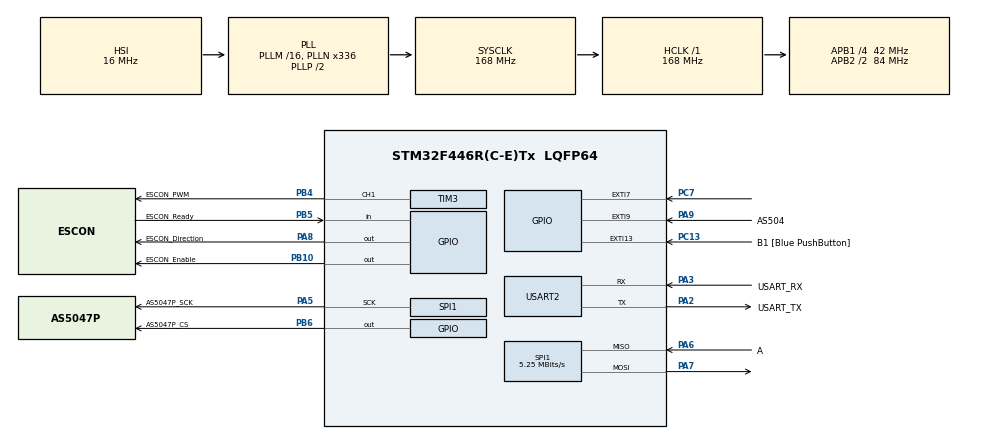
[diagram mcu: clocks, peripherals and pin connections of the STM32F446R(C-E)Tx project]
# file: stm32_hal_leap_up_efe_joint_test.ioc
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Mcu.Family=STM32F4
Mcu.Name=STM32F446R(C-E)Tx
Mcu.Package=LQFP64
NVIC.EXTI15_10_IRQn=true\:0\:0\:false\:false\:true\:true\:true\:true
NVIC.EXTI9_5_IRQn=true\:0\:0\:false\:false\:true\:true\:true\:true
NVIC.PriorityGroup=NVIC_PRIORITYGROUP_1
NVIC.TIM1_UP_TIM10_IRQn=true\:1\:0\:true\:false\:true\:true\:true\:true
NVIC.USART2_IRQn=true\:0\:1\:false\:false\:true\:true\:true\:true
PA13.GPIO_Label=TMS
PA13.Mode=Serial_Wire
PA13.Signal=SYS_JTMS-SWDIO
PA14.GPIO_Label=TCK
PA14.Mode=Serial_Wire
PA14.Signal=SYS_JTCK-SWCLK
PA2.GPIO_Label=USART_TX
PA2.Mode=Asynchronous
PA2.Signal=USART2_TX
PA3.GPIO_Label=USART_RX
PA3.Mode=Asynchronous
PA3.Signal=USART2_RX
PA5.GPIO_Label=AS5047P_SCK
PA5.Mode=Full_Duplex_Master
PA5.Signal=SPI1_SCK
PA6.GPIO_Label=A
PA6.Mode=Full_Duplex_Master
PA6.Signal=SPI1_MISO
PA7.Mode=Full_Duplex_Master
PA7.Signal=SPI1_MOSI
PA8.GPIO_Label=ESCON_Direction
PA8.GPIO_Speed=GPIO_SPEED_FREQ_LOW
PA8.Signal=GPIO_Output
PA9.GPIO_Label=AS504
PA9.GPIO_ModeDefaultEXTI=GPIO_MODE_IT_RISING_FALLING
PA9.Signal=GPXTI9
PB10.GPIO_Label=ESCON_Enable
PB10.GPIO_Speed=GPIO_SPEED_FREQ_LOW
PB10.Signal=GPIO_Output
PB3.GPIO_Label=SWO
PB3.Signal=SYS_JTDO-SWO
PB4.GPIO_Label=ESCON_PWM
PB4.GPIO_Speed=GPIO_SPEED_FREQ_VERY_HIGH
PB4.Signal=S_TIM3_CH1
PB5.GPIO_Label=ESCON_Ready
PB5.Signal=GPIO_Input
PB6.GPIO_Label=AS5047P_CS
PB6.GPIO_Speed=GPIO_SPEED_FREQ_MEDIUM
PB6.Signal=GPIO_Output
PC13.GPIO_Label=B1 [Blue PushButton]
PC13.GPIO_ModeDefaultEXTI=GPIO_MODE_IT_FALLING
PC13.Signal=GPXTI13
PC14-OSC32_IN.Mode=LSE-External-Oscillator
PC14-OSC32_IN.Signal=RCC_OSC32_IN
PC15-OSC32_OUT.Mode=LSE-External-Oscillator
PC15-OSC32_OUT.Signal=RCC_OSC32_OUT
PC7.GPIO_ModeDefaultEXTI=GPIO_MODE_IT_RISING_FALLING
PC7.Signal=GPXTI7
PH0-OSC_IN.Mode=HSE-External-Oscillator
PH0-OSC_IN.Signal=RCC_OSC_IN
PH1-OSC_OUT.Mode=HSE-External-Oscillator
PH1-OSC_OUT.Signal=RCC_OSC_OUT
ProjectManager.HeapSize=0x200
ProjectManager.StackSize=0x400
ProjectManager.TargetToolchain=STM32CubeIDE
RCC.48MHZClocksFreq_Value=84000000
RCC.AHBFreq_Value=168000000
RCC.APB1CLKDivider=RCC_HCLK_DIV4
RCC.APB1Freq_Value=42000000
RCC.APB1TimFreq_Value=84000000
RCC.APB2CLKDivider=RCC_HCLK_DIV2
RCC.APB2Freq_Value=84000000
RCC.APB2TimFreq_Value=168000000
RCC.CortexFreq_Value=168000000
RCC.FLatency-AdvancedSettings=FLASH_LATENCY_5
RCC.HCLKFreq_Value=168000000
RCC.HSE_VALUE=8000000
RCC.HSI_VALUE=16000000
RCC.PLLN=336
RCC.SYSCLKFreq_VALUE=168000000
RCC.SYSCLKSource=RCC_SYSCLKSOURCE_PLLCLK
RCC.USBFreq_Value=168000000
RCC.VCOOutputFreq_Value=336000000
SH.S_TIM3_CH1.0=TIM3_CH1,PWM Generation1 CH1
SPI1.BaudRatePrescaler=SPI_BAUDRATEPRESCALER_16
SPI1.CLKPhase=SPI_PHASE_2EDGE
SPI1.CalculateBaudRate=5.25 MBits/s
SPI1.DataSize=SPI_DATASIZE_16BIT
SPI1.Direction=SPI_DIRECTION_2LINES
SPI1.Mode=SPI_MODE_MASTER
SPI1.VirtualType=VM_MASTER
TIM10.Period=10
TIM10.Prescaler=84-1
TIM11.Period=1000
TIM11.Prescaler=84-1
TIM3.Channel-PWM\ Generation1\ CH1=TIM_CHANNEL_1
TIM3.Period=1000-1
TIM3.Prescaler=84-1
USART2.VirtualMode=VM_ASYNC
VP_TIM10_VS_ClockSourceINT.Mode=Enable_Timer
VP_TIM11_VS_ClockSourceINT.Mode=Enable_Timer
VP_TIM3_VS_ClockSourceINT.Mode=Internal
board=NUCLEO-F446RE

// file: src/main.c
/* USER CODE BEGIN Header */
/**
 ******************************************************************************
 * @file           : main.c
 * @brief          : Main program body
 ******************************************************************************
 * @attention
 *
 * Copyright (c) 2022 STMicroelectronics.
 * All rights reserved.
 *
 * This software is licensed under terms that can be found in the LICENSE file
 * in the root directory of this software component.
 * If no LICENSE file comes with this software, it is provided AS-IS.
 *
 ******************************************************************************
 */
/* USER CODE END Header */
#include "main.h"

/* USER CODE BEGIN Includes */
#include <stdio.h>
/* USER CODE END Includes */

/* USER CODE BEGIN PD */
#ifdef __GNUC__
#define PUTCHAR_PROTOTYPE int __io_putchar(int ch)
#else
#define PUTCHAR_PROTOTYPE int fputc(int ch, FILE *f)
#endif

#define MONITOR_HZ (5)

/* USER CODE END PD */

SPI_HandleTypeDef hspi1;

TIM_HandleTypeDef htim3;
TIM_HandleTypeDef htim10;
TIM_HandleTypeDef htim11;

UART_HandleTypeDef huart2;

/* USER CODE BEGIN PV */
uint8_t rx_bufffer[1] = {0};
volatile ESCON_Direction_t present_direction = CW;
volatile int32_t goal_encoder_count = 0;
volatile int32_t present_encoder_count = 0;
/* USER CODE END PV */

void SystemClock_Config(void);
static void MX_GPIO_Init(void);
static void MX_SPI1_Init(void);
static void MX_TIM3_Init(void);
static void MX_TIM10_Init(void);
static void MX_USART2_UART_Init(void);
static void MX_TIM11_Init(void);

int main(void)
{

  /* MCU Configuration--------------------------------------------------------*/

  /* Reset of all peripherals, Initializes the Flash interface and the Systick. */
  HAL_Init();

  /* Configure the system clock */
  SystemClock_Config();

  /* Initialize all configured peripherals */
  MX_GPIO_Init();
  MX_SPI1_Init();
  MX_TIM3_Init();
  MX_TIM10_Init();
  MX_USART2_UART_Init();
  MX_TIM11_Init();
  /* USER CODE BEGIN 2 */
  EFE_Joint_Init();

  double angle = EFE_Joint_GetAngle();
  present_encoder_count = AS5047P_ANGLE_TO_COUNT(angle);
  goal_encoder_count = present_encoder_count;

  HAL_TIM_Base_Start_IT(&htim10);
  HAL_UART_Receive_IT(&huart2, rx_bufffer, 1);
  printf("\r\nReady\r\n");

  /* USER CODE END 2 */

  /* Infinite loop */
  /* USER CODE BEGIN WHILE */
  while (1)
  {
    EFE_Joint_SetAngle(goal_encoder_count, present_encoder_count);

    /* USER CODE END WHILE */

  }
}

void HAL_TIM_PeriodElapsedCallback(TIM_HandleTypeDef *htim)
{
  if (htim->Instance == TIM10)
  {
    double angle = EFE_Joint_GetAngle();

    printf("D: %1i, P: %5li, G: %5li, A: %i\r\n",
           present_direction,
           present_encoder_count,
           goal_encoder_count,
           (int16_t)angle);

    present_encoder_count = AS5047P_ANGLE_TO_COUNT(angle);
  }
}

void HAL_UART_RxCpltCallback(UART_HandleTypeDef *huart)
{
  if (huart->Instance == USART2)
  {
    uint8_t goal_angle = rx_bufffer[0];
    goal_encoder_count = AS5047P_ANGLE_TO_COUNT(goal_angle);
    HAL_UART_Receive_IT(&huart2, rx_bufffer, 1);
  }
}

// FIXME: The value of encoder count does not match the actual angle.
void HAL_GPIO_EXTI_Callback(uint16_t GPIO_Pin)
{
  if (GPIO_Pin == AS5047P_ENCODER_A_Pin)
  {
    GPIO_PinState a = HAL_GPIO_ReadPin(AS5047P_ENCODER_A_GPIO_Port, AS5047P_ENCODER_A_Pin);
    GPIO_PinState b = HAL_GPIO_ReadPin(AS5047P_ENCODER_B_GPIO_Port, AS5047P_ENCODER_B_Pin);

    if (a != b)
    {
      present_direction = CW;
      present_encoder_count++;
    }
    else
    {
      present_direction = CCW;
      present_encoder_count--;
    }
  }
  else if (GPIO_Pin == AS5047P_ENCODER_B_Pin)
  {
    GPIO_PinState a = HAL_GPIO_ReadPin(AS5047P_ENCODER_A_GPIO_Port, AS5047P_ENCODER_A_Pin);
    GPIO_PinState b = HAL_GPIO_ReadPin(AS5047P_ENCODER_B_GPIO_Port, AS5047P_ENCODER_B_Pin);

    if (a != b)
    {
      present_direction = CCW;
      present_encoder_count--;
    }
    else
    {
      present_direction = CW;
      present_encoder_count++;
    }
  }
}

PUTCHAR_PROTOTYPE
{
  HAL_UART_Transmit(&huart2,
                    (uint8_t *)&ch,
                    1,
                    HAL_MAX_DELAY);
  return ch;
}

void as5047p_spi_send(uint16_t data)
{
  HAL_SPI_Transmit(&hspi1, (uint8_t *)&data, 1, HAL_MAX_DELAY);
}

uint16_t as5047p_spi_read(void)
{
  uint16_t data = 0;
  HAL_SPI_Receive(&hspi1, (uint8_t *)&data, 1, HAL_MAX_DELAY);
  return data;
}

void as5047p_spi_select(void)
{
  HAL_GPIO_WritePin(AS5047P_CS_GPIO_Port, AS5047P_CS_Pin, GPIO_PIN_RESET);
}

void as5047p_spi_deselect(void)
{
  HAL_GPIO_WritePin(AS5047P_CS_GPIO_Port, AS5047P_CS_Pin, GPIO_PIN_SET);
}

void SystemClock_Config(void)
{
  RCC_OscInitTypeDef RCC_OscInitStruct = {0};
  RCC_ClkInitTypeDef RCC_ClkInitStruct = {0};

  /** Configure the main internal regulator output voltage
   */
  __HAL_RCC_PWR_CLK_ENABLE();
  __HAL_PWR_VOLTAGESCALING_CONFIG(PWR_REGULATOR_VOLTAGE_SCALE1);

  /** Initializes the RCC Oscillators according to the specified parameters
   * in the RCC_OscInitTypeDef structure.
   */
  RCC_OscInitStruct.OscillatorType = RCC_OSCILLATORTYPE_HSI;
  RCC_OscInitStruct.HSIState = RCC_HSI_ON;
  RCC_OscInitStruct.HSICalibrationValue = RCC_HSICALIBRATION_DEFAULT;
  RCC_OscInitStruct.PLL.PLLState = RCC_PLL_ON;
  RCC_OscInitStruct.PLL.PLLSource = RCC_PLLSOURCE_HSI;
  RCC_OscInitStruct.PLL.PLLM = 16;
  RCC_OscInitStruct.PLL.PLLN = 336;
  RCC_OscInitStruct.PLL.PLLP = RCC_PLLP_DIV2;
  RCC_OscInitStruct.PLL.PLLQ = 2;
  RCC_OscInitStruct.PLL.PLLR = 2;
  if (HAL_RCC_OscConfig(&RCC_OscInitStruct) != HAL_OK)
  {
    Error_Handler();
  }

  /** Initializes the CPU, AHB and APB buses clocks
   */
  RCC_ClkInitStruct.ClockType = RCC_CLOCKTYPE_HCLK | RCC_CLOCKTYPE_SYSCLK | RCC_CLOCKTYPE_PCLK1 | RCC_CLOCKTYPE_PCLK2;
  RCC_ClkInitStruct.SYSCLKSource = RCC_SYSCLKSOURCE_PLLCLK;
  RCC_ClkInitStruct.AHBCLKDivider = RCC_SYSCLK_DIV1;
  RCC_ClkInitStruct.APB1CLKDivider = RCC_HCLK_DIV4;
  RCC_ClkInitStruct.APB2CLKDivider = RCC_HCLK_DIV2;

  if (HAL_RCC_ClockConfig(&RCC_ClkInitStruct, FLASH_LATENCY_5) != HAL_OK)
  {
    Error_Handler();
  }
}

static void MX_SPI1_Init(void)
{

  /* SPI1 parameter configuration*/
  hspi1.Instance = SPI1;
  hspi1.Init.Mode = SPI_MODE_MASTER;
  hspi1.Init.Direction = SPI_DIRECTION_2LINES;
  hspi1.Init.DataSize = SPI_DATASIZE_16BIT;
  hspi1.Init.CLKPolarity = SPI_POLARITY_LOW;
  hspi1.Init.CLKPhase = SPI_PHASE_2EDGE;
  hspi1.Init.NSS = SPI_NSS_SOFT;
  hspi1.Init.BaudRatePrescaler = SPI_BAUDRATEPRESCALER_16;
  hspi1.Init.FirstBit = SPI_FIRSTBIT_MSB;
  hspi1.Init.TIMode = SPI_TIMODE_DISABLE;
  hspi1.Init.CRCCalculation = SPI_CRCCALCULATION_DISABLE;
  hspi1.Init.CRCPolynomial = 10;
  if (HAL_SPI_Init(&hspi1) != HAL_OK)
  {
    Error_Handler();
  }
}

static void MX_TIM3_Init(void)
{

  TIM_ClockConfigTypeDef sClockSourceConfig = {0};
  TIM_MasterConfigTypeDef sMasterConfig = {0};
  TIM_OC_InitTypeDef sConfigOC = {0};

  htim3.Instance = TIM3;
  htim3.Init.Prescaler = 84 - 1;
  htim3.Init.CounterMode = TIM_COUNTERMODE_UP;
  htim3.Init.Period = 1000 - 1;
  htim3.Init.ClockDivision = TIM_CLOCKDIVISION_DIV1;
  htim3.Init.AutoReloadPreload = TIM_AUTORELOAD_PRELOAD_DISABLE;
  if (HAL_TIM_Base_Init(&htim3) != HAL_OK)
  {
    Error_Handler();
  }
  sClockSourceConfig.ClockSource = TIM_CLOCKSOURCE_INTERNAL;
  if (HAL_TIM_ConfigClockSource(&htim3, &sClockSourceConfig) != HAL_OK)
  {
    Error_Handler();
  }
  if (HAL_TIM_PWM_Init(&htim3) != HAL_OK)
  {
    Error_Handler();
  }
  sMasterConfig.MasterOutputTrigger = TIM_TRGO_RESET;
  sMasterConfig.MasterSlaveMode = TIM_MASTERSLAVEMODE_DISABLE;
  if (HAL_TIMEx_MasterConfigSynchronization(&htim3, &sMasterConfig) != HAL_OK)
  {
    Error_Handler();
  }
  sConfigOC.OCMode = TIM_OCMODE_PWM1;
  sConfigOC.Pulse = 0;
  sConfigOC.OCPolarity = TIM_OCPOLARITY_HIGH;
  sConfigOC.OCFastMode = TIM_OCFAST_DISABLE;
  if (HAL_TIM_PWM_ConfigChannel(&htim3, &sConfigOC, TIM_CHANNEL_1) != HAL_OK)
  {
    Error_Handler();
  }
  HAL_TIM_MspPostInit(&htim3);
}

static void MX_TIM10_Init(void)
{

  htim10.Instance = TIM10;
  htim10.Init.Prescaler = 168000 - 1;
  htim10.Init.CounterMode = TIM_COUNTERMODE_UP;
  htim10.Init.Period = (1000 / MONITOR_HZ) - 1;
  htim10.Init.ClockDivision = TIM_CLOCKDIVISION_DIV1;
  htim10.Init.AutoReloadPreload = TIM_AUTORELOAD_PRELOAD_DISABLE;
  if (HAL_TIM_Base_Init(&htim10) != HAL_OK)
  {
    Error_Handler();
  }
}

static void MX_TIM11_Init(void)
{

  htim11.Instance = TIM11;
  htim11.Init.Prescaler = 84 - 1;
  htim11.Init.CounterMode = TIM_COUNTERMODE_UP;
  htim11.Init.Period = 1000;
  htim11.Init.ClockDivision = TIM_CLOCKDIVISION_DIV1;
  htim11.Init.AutoReloadPreload = TIM_AUTORELOAD_PRELOAD_DISABLE;
  if (HAL_TIM_Base_Init(&htim11) != HAL_OK)
  {
    Error_Handler();
  }
}

static void MX_USART2_UART_Init(void)
{

  huart2.Instance = USART2;
  huart2.Init.BaudRate = 115200;
  huart2.Init.WordLength = UART_WORDLENGTH_8B;
  huart2.Init.StopBits = UART_STOPBITS_1;
  huart2.Init.Parity = UART_PARITY_NONE;
  huart2.Init.Mode = UART_MODE_TX_RX;
  huart2.Init.HwFlowCtl = UART_HWCONTROL_NONE;
  huart2.Init.OverSampling = UART_OVERSAMPLING_16;
  if (HAL_UART_Init(&huart2) != HAL_OK)
  {
    Error_Handler();
  }
}

static void MX_GPIO_Init(void)
{
  GPIO_InitTypeDef GPIO_InitStruct = {0};

  /* GPIO Ports Clock Enable */
  __HAL_RCC_GPIOC_CLK_ENABLE();
  __HAL_RCC_GPIOH_CLK_ENABLE();
  __HAL_RCC_GPIOA_CLK_ENABLE();
  __HAL_RCC_GPIOB_CLK_ENABLE();

  /*Configure GPIO pin Output Level */
  HAL_GPIO_WritePin(GPIOB, ESCON_Enable_Pin | AS5047P_CS_Pin, GPIO_PIN_RESET);

  /*Configure GPIO pin Output Level */
  HAL_GPIO_WritePin(ESCON_Direction_GPIO_Port, ESCON_Direction_Pin, GPIO_PIN_RESET);

  /*Configure GPIO pin : B1_Pin */
  GPIO_InitStruct.Pin = B1_Pin;
  GPIO_InitStruct.Mode = GPIO_MODE_IT_FALLING;
  GPIO_InitStruct.Pull = GPIO_NOPULL;
  HAL_GPIO_Init(B1_GPIO_Port, &GPIO_InitStruct);

  /*Configure GPIO pin : ESCON_Enable_Pin */
  GPIO_InitStruct.Pin = ESCON_Enable_Pin;
  GPIO_InitStruct.Mode = GPIO_MODE_OUTPUT_PP;
  GPIO_InitStruct.Pull = GPIO_NOPULL;
  GPIO_InitStruct.Speed = GPIO_SPEED_FREQ_LOW;
  HAL_GPIO_Init(ESCON_Enable_GPIO_Port, &GPIO_InitStruct);

  /*Configure GPIO pin : AS5047P_ENCODER_A_Pin */
  GPIO_InitStruct.Pin = AS5047P_ENCODER_A_Pin;
  GPIO_InitStruct.Mode = GPIO_MODE_IT_RISING_FALLING;
  GPIO_InitStruct.Pull = GPIO_NOPULL;
  HAL_GPIO_Init(AS5047P_ENCODER_A_GPIO_Port, &GPIO_InitStruct);

  /*Configure GPIO pin : AS5047P_ENCODER_B_Pin */
  GPIO_InitStruct.Pin = AS5047P_ENCODER_B_Pin;
  GPIO_InitStruct.Mode = GPIO_MODE_IT_RISING_FALLING;
  GPIO_InitStruct.Pull = GPIO_NOPULL;
  HAL_GPIO_Init(AS5047P_ENCODER_B_GPIO_Port, &GPIO_InitStruct);

  /*Configure GPIO pin : ESCON_Direction_Pin */
  GPIO_InitStruct.Pin = ESCON_Direction_Pin;
  GPIO_InitStruct.Mode = GPIO_MODE_OUTPUT_PP;
  GPIO_InitStruct.Pull = GPIO_NOPULL;
  GPIO_InitStruct.Speed = GPIO_SPEED_FREQ_LOW;
  HAL_GPIO_Init(ESCON_Direction_GPIO_Port, &GPIO_InitStruct);

  /*Configure GPIO pin : ESCON_Ready_Pin */
  GPIO_InitStruct.Pin = ESCON_Ready_Pin;
  GPIO_InitStruct.Mode = GPIO_MODE_INPUT;
  GPIO_InitStruct.Pull = GPIO_NOPULL;
  HAL_GPIO_Init(ESCON_Ready_GPIO_Port, &GPIO_InitStruct);

  /*Configure GPIO pin : AS5047P_CS_Pin */
  GPIO_InitStruct.Pin = AS5047P_CS_Pin;
  GPIO_InitStruct.Mode = GPIO_MODE_OUTPUT_PP;
  GPIO_InitStruct.Pull = GPIO_NOPULL;
  GPIO_InitStruct.Speed = GPIO_SPEED_FREQ_MEDIUM;
  HAL_GPIO_Init(AS5047P_CS_GPIO_Port, &GPIO_InitStruct);

  /* EXTI interrupt init*/
  HAL_NVIC_SetPriority(EXTI9_5_IRQn, 0, 1);
  HAL_NVIC_EnableIRQ(EXTI9_5_IRQn);

  HAL_NVIC_SetPriority(EXTI15_10_IRQn, 0, 0);
  HAL_NVIC_EnableIRQ(EXTI15_10_IRQn);
}

void Error_Handler(void)
{
  __disable_irq();
  while (1)
  {
  }
}
